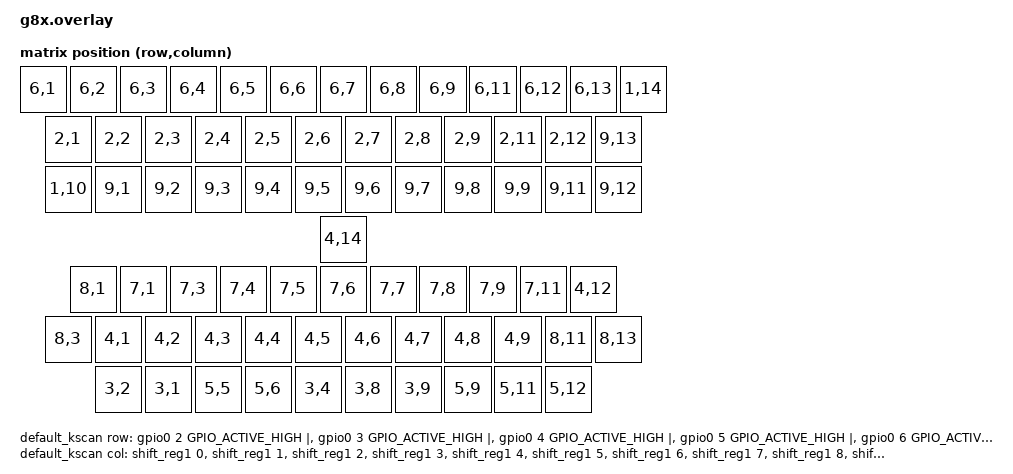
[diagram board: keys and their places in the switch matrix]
#include <nordic/nrf52840_qiaa.dtsi>
#include <dt-bindings/zmk/matrix_transform.h>
/ {
    &pinctrl {
        spi0_default: spi0_default {
            group1 {
                psels = <NRF_PSEL(SPIM_SCK, 0, 20)>,
                        <NRF_PSEL(SPIM_MOSI, 0, 17)>;
            };
        };
    };

    &nice_nano_v2_spi {
        status = "okay";

        cs-gpios = <&gpio0 22 GPIO_ACTIVE_LOW>;

        shift_reg1: 595@0 {
            compatible = "zmk,gpio-595";
            status = "okay";
            gpio-controller;
            spi-max-frequency = <200000>;
            reg = <0>;
            #gpio-cells = <2>;
            ngpios = <16>;
        };
    };

    default_kscan: kscan {
        compatible = "zmk,kscan-gpio-matrix";
        label = "default_kscan";
        debounce-press-ms = <1>;
        debounce-release-ms = <5>;

        diode-direction = "col2row";

        col-gpios = 
            <&shift_reg1 0 GPIO_ACTIVE_HIGH>,
            <&shift_reg1 1 GPIO_ACTIVE_HIGH>,
            <&shift_reg1 2 GPIO_ACTIVE_HIGH>,
            <&shift_reg1 3 GPIO_ACTIVE_HIGH>,
            <&shift_reg1 4 GPIO_ACTIVE_HIGH>,
            <&shift_reg1 5 GPIO_ACTIVE_HIGH>,
            <&shift_reg1 6 GPIO_ACTIVE_HIGH>,
            <&shift_reg1 7 GPIO_ACTIVE_HIGH>,
            <&shift_reg1 8 GPIO_ACTIVE_HIGH>,
            <&shift_reg1 9 GPIO_ACTIVE_HIGH>,
            <&shift_reg1 10 GPIO_ACTIVE_HIGH>,
            <&shift_reg1 11 GPIO_ACTIVE_HIGH>,
            <&shift_reg1 12 GPIO_ACTIVE_HIGH>,
            <&shift_reg1 13 GPIO_ACTIVE_HIGH>;

        row-gpios = 
            <&gpio0 2 GPIO_ACTIVE_HIGH | GPIO_PULL_DOWN>,
            <&gpio0 3 GPIO_ACTIVE_HIGH | GPIO_PULL_DOWN>,
            <&gpio0 4 GPIO_ACTIVE_HIGH | GPIO_PULL_DOWN>,
            <&gpio0 5 GPIO_ACTIVE_HIGH | GPIO_PULL_DOWN>,
            <&gpio0 6 GPIO_ACTIVE_HIGH | GPIO_PULL_DOWN>,
            <&gpio0 8 GPIO_ACTIVE_HIGH | GPIO_PULL_DOWN>,
            <&gpio0 9 GPIO_ACTIVE_HIGH | GPIO_PULL_DOWN>,
            <&gpio0 10 GPIO_ACTIVE_HIGH | GPIO_PULL_DOWN>,
            <&gpio0 11 GPIO_ACTIVE_HIGH | GPIO_PULL_DOWN>;
    };

    default_transform {
        compatible = "zmk,matrix-matrix_transform";
        rows = <9>;
        columns = <14>;

        map = <
              RC(6,1)  RC(6,2) RC(6,3) RC(6,4) RC(6,5) RC(6,6) RC(6,7) RC(6,8) RC(6,9) RC(6,11) RC(6,12) RC(6,13) RC(1,14)
              RC(2,1) RC(2,2) RC(2,3) RC(2,4) RC(2,5) RC(2,6) RC(2,7) RC(2,8) RC(2,9) RC(2,11) RC(2,12) RC(9,13)    
            RC(1,10) RC(9,1) RC(9,2) RC(9,3) RC(9,4) RC(9,5) RC(9,6) RC(9,7) RC(9,8) RC(9,9) RC(9,11) RC(9,12)
									 	                                                            RC(4,14)
             RC(8,1) RC(7,1) RC(7,3) RC(7,4) RC(7,5) RC(7,6) RC(7,7) RC(7,8) RC(7,9) RC(7,11) RC(4,12) 
               RC(8,3) RC(4,1) RC(4,2) RC(4,3) RC(4,4) RC(4,5) RC(4,6) RC(4,7) RC(4,8) RC(4,9) RC(8,11) RC(8,13)
               RC(3,2) RC(3,1) RC(5,5) RC(5,6) RC(3,4) RC(3,8) RC(3,9) RC(5,9) RC(5,11) RC(5,12)
    >;
    };
};
